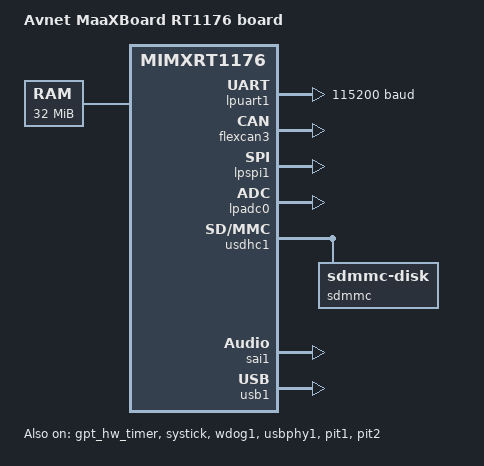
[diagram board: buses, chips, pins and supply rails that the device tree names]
/*
 * Copyright 2021-2022,2024 NXP
 * Copyright 2024 Avnet
 *
 * SPDX-License-Identifier: Apache-2.0
 */

/dts-v1/;

#include <nxp/nxp_rt11xx_cm7.dtsi>
#include "maax_imxrt1176.dtsi"

/ {
	model = "Avnet MaaXBoard RT1176 board";
	compatible = "nxp,mimxrt1176";

	aliases {
		watchdog0 = &wdog1;
	};

chosen {
    zephyr,flash-controller = &S26KS256;
    zephyr,flash = &S26KS256;
    zephyr,code-partition = &slot0_partition;
    //zephyr,sram = &sdram0;
		zephyr,sram = &dtcm;
    zephyr,dtcm = &dtcm;
    zephyr,itcm = &itcm;
    zephyr,console = &lpuart1;
    zephyr,shell-uart = &lpuart1;
    zephyr,canbus = &flexcan3;
    zephyr,cpu1-region = &ocram;
    zephyr,ipc = &mailbox_a;
};

	sdram0: memory@80000000 {

		device_type = "memory";
		reg = <0x80000000 DT_SIZE_M(32)>;
	};
};

&lpuart1 {
	status = "okay";
	current-speed = <115200>;
};

&flexcan3 {
	status = "okay";
	can-transceiver {
		max-bitrate = <5000000>;
	};
};

&lpspi1 {
	dmas = <&edma0 0 36>, <&edma0 1 37>;
	dma-names = "rx", "tx";
	status = "okay";
};

&lpadc0 {
	status = "okay";
};

&usdhc1 {
	status = "okay";
	detect-dat3;
	pwr-gpios = <&gpio10 2 GPIO_ACTIVE_LOW>;
	sdmmc {
		compatible = "zephyr,sdmmc-disk";
		status = "okay";
	};
};

&edma0 {
	status = "okay";
};

/* GPT and Systick are both enabled. If power management is enabled, GPT
 * will be used instead of systick as it allows the core clock to be gated.
 */
&gpt_hw_timer {
	status = "okay";
};

&systick {
	status = "okay";
};

&wdog1 {
	status = "okay";
};

&sai1 {
	status = "okay";
};

zephyr_udc0: &usb1 {
	status = "okay";
	phy_handle = <&usbphy1>;
};

&usbphy1 {
	status = "okay";
	tx-d-cal = <7>;
	tx-cal-45-dp-ohms = <6>;
	tx-cal-45-dm-ohms = <6>;
};

&mailbox_a {
	status = "okay";
};

&pit1 {
	status = "okay";
};

&pit2 {
	status = "okay";
};
